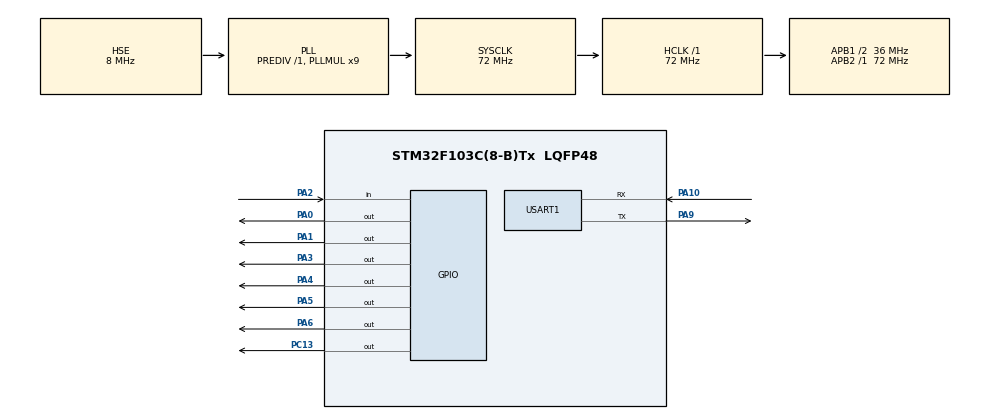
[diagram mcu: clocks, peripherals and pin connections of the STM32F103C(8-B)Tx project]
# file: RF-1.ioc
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Mcu.Family=STM32F1
Mcu.Name=STM32F103C(8-B)Tx
Mcu.Package=LQFP48
NVIC.PriorityGroup=NVIC_PRIORITYGROUP_4
NVIC.TIM4_IRQn=true\:0\:0\:false\:false\:true\:false
NVIC.TimeBase=TIM4_IRQn
NVIC.TimeBaseIP=TIM4
NVIC.USART1_IRQn=true\:0\:0\:false\:false\:true\:true
PA0-WKUP.GPIO_Speed=GPIO_SPEED_FREQ_HIGH
PA0-WKUP.Signal=GPIO_Output
PA1.GPIO_Speed=GPIO_SPEED_FREQ_HIGH
PA1.Signal=GPIO_Output
PA10.Mode=Asynchronous
PA10.Signal=USART1_RX
PA13.Mode=Serial_Wire
PA13.Signal=SYS_JTMS-SWDIO
PA14.Mode=Serial_Wire
PA14.Signal=SYS_JTCK-SWCLK
PA2.Signal=GPIO_Input
PA3.Signal=GPIO_Output
PA4.Signal=GPIO_Output
PA5.Signal=GPIO_Output
PA6.Signal=GPIO_Output
PA9.Mode=Asynchronous
PA9.Signal=USART1_TX
PC13-TAMPER-RTC.GPIO_Speed=GPIO_SPEED_FREQ_HIGH
PC13-TAMPER-RTC.Signal=GPIO_Output
PD0-OSC_IN.Mode=HSE-External-Oscillator
PD0-OSC_IN.Signal=RCC_OSC_IN
PD1-OSC_OUT.Mode=HSE-External-Oscillator
PD1-OSC_OUT.Signal=RCC_OSC_OUT
ProjectManager.HeapSize=0x200
ProjectManager.StackSize=0x400
ProjectManager.TargetToolchain=MDK-ARM V5
RCC.AHBFreq_Value=72000000
RCC.APB1CLKDivider=RCC_HCLK_DIV2
RCC.APB1Freq_Value=36000000
RCC.APB1TimFreq_Value=72000000
RCC.APB2Freq_Value=72000000
RCC.APB2TimFreq_Value=72000000
RCC.HCLKFreq_Value=72000000
RCC.PLLMUL=RCC_PLL_MUL9
RCC.PLLSourceVirtual=RCC_PLLSOURCE_HSE
RCC.SYSCLKFreq_VALUE=72000000
RCC.SYSCLKSource=RCC_SYSCLKSOURCE_PLLCLK
RCC.USBFreq_Value=72000000
USART1.VirtualMode=VM_ASYNC
VP_SYS_VS_tim4.Mode=TIM4
board=custom

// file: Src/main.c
/**
  ******************************************************************************
  * @file           : main.c
  * @brief          : Main program body
  ******************************************************************************
  ** This notice applies to any and all portions of this file
  * that are not between comment pairs USER CODE BEGIN and
  * USER CODE END. Other portions of this file, whether
  * inserted by the user or by software development tools
  * are owned by their respective copyright owners.
  *
  * COPYRIGHT(c) 2019 STMicroelectronics
  *
  * Redistribution and use in source and binary forms, with or without modification,
  * are permitted provided that the following conditions are met:
  *   1. Redistributions of source code must retain the above copyright notice,
  *      this list of conditions and the following disclaimer.
  *   2. Redistributions in binary form must reproduce the above copyright notice,
  *      this list of conditions and the following disclaimer in the documentation
  *      and/or other materials provided with the distribution.
  *   3. Neither the name of STMicroelectronics nor the names of its contributors
  *      may be used to endorse or promote products derived from this software
  *      without specific prior written permission.
  *
  * THIS SOFTWARE IS PROVIDED BY THE COPYRIGHT HOLDERS AND CONTRIBUTORS "AS IS"
  * AND ANY EXPRESS OR IMPLIED WARRANTIES, INCLUDING, BUT NOT LIMITED TO, THE
  * IMPLIED WARRANTIES OF MERCHANTABILITY AND FITNESS FOR A PARTICULAR PURPOSE ARE
  * DISCLAIMED. IN NO EVENT SHALL THE COPYRIGHT HOLDER OR CONTRIBUTORS BE LIABLE
  * FOR ANY DIRECT, INDIRECT, INCIDENTAL, SPECIAL, EXEMPLARY, OR CONSEQUENTIAL
  * DAMAGES (INCLUDING, BUT NOT LIMITED TO, PROCUREMENT OF SUBSTITUTE GOODS OR
  * SERVICES; LOSS OF USE, DATA, OR PROFITS; OR BUSINESS INTERRUPTION) HOWEVER
  * CAUSED AND ON ANY THEORY OF LIABILITY, WHETHER IN CONTRACT, STRICT LIABILITY,
  * OR TORT (INCLUDING NEGLIGENCE OR OTHERWISE) ARISING IN ANY WAY OUT OF THE USE
  * OF THIS SOFTWARE, EVEN IF ADVISED OF THE POSSIBILITY OF SUCH DAMAGE.
  *
  ******************************************************************************
  */
#include "main.h"
#include "stm32f1xx_hal.h"

/* USER CODE BEGIN Includes */
#include "string.h"
#include "tm_stm32_hd44780.h"

/* USER CODE END Includes */

UART_HandleTypeDef huart1;

/* USER CODE BEGIN PV */
/* Private variables ---------------------------------------------------------*/

/* USER CODE END PV */

void SystemClock_Config(void);
static void MX_GPIO_Init(void);
static void MX_USART1_UART_Init(void);

/* USER CODE BEGIN PFP */
/* Private function prototypes -----------------------------------------------*/

/* USER CODE END PFP */

/* USER CODE BEGIN 0 */

unsigned char data[1];
char t_str[30];

/* USER CODE END 0 */

int main(void)
{

  /* MCU Configuration----------------------------------------------------------*/

  /* Reset of all peripherals, Initializes the Flash interface and the Systick. */
  HAL_Init();

  /* Configure the system clock */
  SystemClock_Config();

  /* Initialize all configured peripherals */
  MX_GPIO_Init();
  MX_USART1_UART_Init();
  /* USER CODE BEGIN 2 */

	HAL_GPIO_WritePin(GPIOC,GPIO_PIN_13,GPIO_PIN_RESET);
		HAL_Delay(1000);
	HAL_GPIO_WritePin(GPIOC,GPIO_PIN_13,GPIO_PIN_SET);
		HAL_Delay(1000);

HAL_UART_Receive_IT(&huart1,data,1);

  /* USER CODE END 2 */

  /* Infinite loop */
  while (1)
  {

  /* USER CODE BEGIN 3 */
	HAL_GPIO_WritePin(GPIOC,GPIO_PIN_13,GPIO_PIN_RESET);
		HAL_Delay(100);
	HAL_GPIO_WritePin(GPIOC,GPIO_PIN_13,GPIO_PIN_SET);
		HAL_Delay(100);

  }
  /* USER CODE END 3 */

}

void SystemClock_Config(void)
{

  RCC_OscInitTypeDef RCC_OscInitStruct;
  RCC_ClkInitTypeDef RCC_ClkInitStruct;

    /**Initializes the CPU, AHB and APB busses clocks
    */
  RCC_OscInitStruct.OscillatorType = RCC_OSCILLATORTYPE_HSE;
  RCC_OscInitStruct.HSEState = RCC_HSE_ON;
  RCC_OscInitStruct.HSEPredivValue = RCC_HSE_PREDIV_DIV1;
  RCC_OscInitStruct.HSIState = RCC_HSI_ON;
  RCC_OscInitStruct.PLL.PLLState = RCC_PLL_ON;
  RCC_OscInitStruct.PLL.PLLSource = RCC_PLLSOURCE_HSE;
  RCC_OscInitStruct.PLL.PLLMUL = RCC_PLL_MUL9;
  if (HAL_RCC_OscConfig(&RCC_OscInitStruct) != HAL_OK)
  {
    _Error_Handler(__FILE__, __LINE__);
  }

    /**Initializes the CPU, AHB and APB busses clocks
    */
  RCC_ClkInitStruct.ClockType = RCC_CLOCKTYPE_HCLK|RCC_CLOCKTYPE_SYSCLK
                              |RCC_CLOCKTYPE_PCLK1|RCC_CLOCKTYPE_PCLK2;
  RCC_ClkInitStruct.SYSCLKSource = RCC_SYSCLKSOURCE_PLLCLK;
  RCC_ClkInitStruct.AHBCLKDivider = RCC_SYSCLK_DIV1;
  RCC_ClkInitStruct.APB1CLKDivider = RCC_HCLK_DIV2;
  RCC_ClkInitStruct.APB2CLKDivider = RCC_HCLK_DIV1;

  if (HAL_RCC_ClockConfig(&RCC_ClkInitStruct, FLASH_LATENCY_2) != HAL_OK)
  {
    _Error_Handler(__FILE__, __LINE__);
  }

    /**Configure the Systick interrupt time
    */
  HAL_SYSTICK_Config(HAL_RCC_GetHCLKFreq()/1000);

    /**Configure the Systick
    */
  HAL_SYSTICK_CLKSourceConfig(SYSTICK_CLKSOURCE_HCLK);

  /* SysTick_IRQn interrupt configuration */
  HAL_NVIC_SetPriority(SysTick_IRQn, 0, 0);
}

/* USART1 init function */
static void MX_USART1_UART_Init(void)
{

  huart1.Instance = USART1;
  huart1.Init.BaudRate = 115200;
  huart1.Init.WordLength = UART_WORDLENGTH_8B;
  huart1.Init.StopBits = UART_STOPBITS_1;
  huart1.Init.Parity = UART_PARITY_NONE;
  huart1.Init.Mode = UART_MODE_TX_RX;
  huart1.Init.HwFlowCtl = UART_HWCONTROL_NONE;
  huart1.Init.OverSampling = UART_OVERSAMPLING_16;
  if (HAL_UART_Init(&huart1) != HAL_OK)
  {
    _Error_Handler(__FILE__, __LINE__);
  }

}

/** Configure pins as
        * Analog
        * Input
        * Output
        * EVENT_OUT
        * EXTI
*/
static void MX_GPIO_Init(void)
{

  GPIO_InitTypeDef GPIO_InitStruct;

  /* GPIO Ports Clock Enable */
  __HAL_RCC_GPIOC_CLK_ENABLE();
  __HAL_RCC_GPIOD_CLK_ENABLE();
  __HAL_RCC_GPIOA_CLK_ENABLE();

  /*Configure GPIO pin Output Level */
  HAL_GPIO_WritePin(GPIOC, GPIO_PIN_13, GPIO_PIN_RESET);

  /*Configure GPIO pin Output Level */
  HAL_GPIO_WritePin(GPIOA, GPIO_PIN_0|GPIO_PIN_1|GPIO_PIN_3|GPIO_PIN_4
                          |GPIO_PIN_5|GPIO_PIN_6, GPIO_PIN_RESET);

  /*Configure GPIO pin : PC13 */
  GPIO_InitStruct.Pin = GPIO_PIN_13;
  GPIO_InitStruct.Mode = GPIO_MODE_OUTPUT_PP;
  GPIO_InitStruct.Pull = GPIO_NOPULL;
  GPIO_InitStruct.Speed = GPIO_SPEED_FREQ_HIGH;
  HAL_GPIO_Init(GPIOC, &GPIO_InitStruct);

  /*Configure GPIO pins : PA0 PA1 */
  GPIO_InitStruct.Pin = GPIO_PIN_0|GPIO_PIN_1;
  GPIO_InitStruct.Mode = GPIO_MODE_OUTPUT_PP;
  GPIO_InitStruct.Pull = GPIO_NOPULL;
  GPIO_InitStruct.Speed = GPIO_SPEED_FREQ_HIGH;
  HAL_GPIO_Init(GPIOA, &GPIO_InitStruct);

  /*Configure GPIO pin : PA2 */
  GPIO_InitStruct.Pin = GPIO_PIN_2;
  GPIO_InitStruct.Mode = GPIO_MODE_INPUT;
  GPIO_InitStruct.Pull = GPIO_NOPULL;
  HAL_GPIO_Init(GPIOA, &GPIO_InitStruct);

  /*Configure GPIO pins : PA3 PA4 PA5 PA6 */
  GPIO_InitStruct.Pin = GPIO_PIN_3|GPIO_PIN_4|GPIO_PIN_5|GPIO_PIN_6;
  GPIO_InitStruct.Mode = GPIO_MODE_OUTPUT_PP;
  GPIO_InitStruct.Pull = GPIO_NOPULL;
  GPIO_InitStruct.Speed = GPIO_SPEED_FREQ_LOW;
  HAL_GPIO_Init(GPIOA, &GPIO_InitStruct);

}

/* USER CODE BEGIN 4 */

void HAL_UART_RxCpltCallback(UART_HandleTypeDef *huart)
{

	sprintf(t_str, "--%c--\n",data[0]);
	HAL_UART_Transmit(&huart1,(unsigned char*)t_str,strlen(t_str),100);

	HAL_UART_Receive_IT(&huart1,data,1);

}

/* USER CODE END 4 */

void HAL_TIM_PeriodElapsedCallback(TIM_HandleTypeDef *htim)
{
  if (htim->Instance == TIM4) {
    HAL_IncTick();
  }
}

void _Error_Handler(char *file, int line)
{
  while(1)
  {
  }
}

/************************ (C) COPYRIGHT STMicroelectronics *****END OF FILE****/
